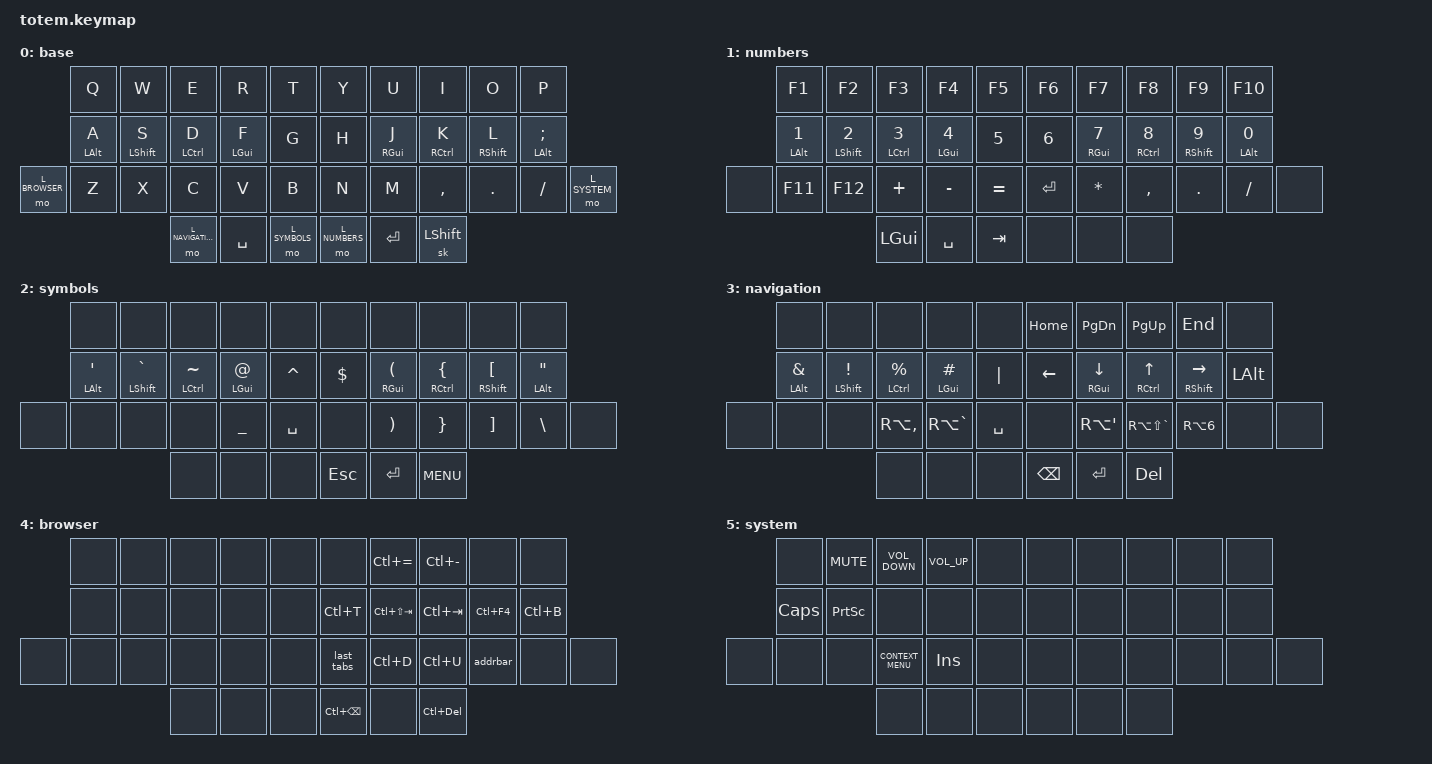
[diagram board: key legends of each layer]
//
//                                                        ▀▀▀▀▀     ▀▀▀▀▀          ▀▀█▀▀
//                                                        ▄▀▀▀▄  ▄  ▄▀▀▀▄  ▄  ▄▀▀▀▄  █  ▄▀▀▀▄
//                                                        █   █  █  █   █  █  █   █  █  █   █
//                                                         ▀▀▀   █   ▀▀▀   █   ▀▀▀   ▀   ▀▀▀
//                                                               █      ▄▄▄█▄▄▄    █   █  
//                                                               ▀      █  █  █     █▄█
//                                                             ▀▀▀▀▀    █  █  █      ▀
//                                                                      ▀  ▀  ▀
//
// ▄▄▄▄▄▄▄▄▄▄▄▄▄▄▄▄▄▄▄▄▄▄▄▄▄▄▄▄▄▄▄▄▄▄▄▄▄▄▄▄▄▄▄▄▄▄▄▄▄▄▄▄▄▄▄▄▄▄▄▄▄▄▄▄▄▄▄▄▄▄▄▄▄▄▄▄▄▄▄▄▄▄▄▄▄▄▄▄▄▄▄▄▄▄▄▄▄▄▄▄▄▄▄▄▄▄▄▄▄▄▄▄▄▄▄▄▄▄▄▄▄▄▄▄▄▄▄▄▄▄▄▄▄▄▄▄▄▄▄▄▄▄▄▄▄▄▄▄▄

#include <behaviors.dtsi>
#include <dt-bindings/zmk/keys.h>

#define L_BASE 0
#define L_NUMBERS 1
#define L_SYMBOLS 2
#define L_NAVIGATION 3
#define L_BROWSER 4
#define L_SYSTEM 5

&sk {
    release-after-ms = <500>;
    quick-release;
};

/ {
    macros {
        addrbar: addrbar {
            compatible = "zmk,behavior-macro";
            #binding-cells = <0>;
            bindings = <&kp F6>;
        };

        last_tabs: last_tabs {
            compatible = "zmk,behavior-macro";
            #binding-cells = <0>;
            bindings = <&kp LC(LS(T))>;
        };
    };

    behaviors {
        hml: home_row_mod_left {
            compatible = "zmk,behavior-hold-tap";
            #binding-cells = <2>;
            flavor = "balanced";
            require-prior-idle-ms = <150>;
            tapping-term-ms = <280>;
            quick-tap-ms = <175>;
            bindings = <&kp>, <&kp>;

            hold-trigger-key-positions = <5 6 7 8 9 15 16 17 18 19 26 27 28 29 30 31 32 33 34 35 36 37>;
            hold-trigger-on-release;
        };

        hmr: home_row_mod_right {
            compatible = "zmk,behavior-hold-tap";
            #binding-cells = <2>;
            flavor = "balanced";
            require-prior-idle-ms = <150>;
            tapping-term-ms = <280>;
            quick-tap-ms = <175>;
            bindings = <&kp>, <&kp>;

            hold-trigger-key-positions = <0 1 2 3 4 10 11 12 13 14 20 21 22 23 24 25 32 33 34 35 36 37>;
            hold-trigger-on-release;
        };
    };

    keymap {
        compatible = "zmk,keymap";

        base {
            bindings = <
               &kp Q            &kp W              &kp E                &kp R            &kp T            &kp Y          &kp U             &kp I                 &kp O               &kp P
               &hml LEFT_ALT A  &hml LEFT_SHIFT S  &hml LEFT_CONTROL D  &hml LEFT_GUI F  &kp G            &kp H          &hmr RIGHT_GUI J  &hmr RIGHT_CONTROL K  &hmr RIGHT_SHIFT L  &hmr LEFT_ALT SEMI
&mo L_BROWSER  &kp Z            &kp X              &kp C                &kp V            &kp B            &kp N          &kp M             &kp COMMA             &kp DOT             &kp SLASH           &mo L_SYSTEM
                                                   &mo L_NAVIGATION     &kp SPACE        &mo L_SYMBOLS    &mo L_NUMBERS  &kp ENTER         &sk LEFT_SHIFT
            >;
        };

        numbers {
            bindings = <
       &kp F1            &kp F2              &kp F3                &kp F4            &kp F5       &kp F6     &kp F7             &kp F8                 &kp F9               &kp F10
       &hml LEFT_ALT N1  &hml LEFT_SHIFT N2  &hml LEFT_CONTROL N3  &hml LEFT_GUI N4  &kp N5       &kp N6     &hmr RIGHT_GUI N7  &hmr RIGHT_CONTROL N8  &hmr RIGHT_SHIFT N9  &hmr LEFT_ALT N0
&none  &kp F11           &kp F12             &kp PLUS              &kp MINUS         &kp EQUAL    &kp ENTER  &kp ASTERISK       &kp COMMA              &kp DOT              &kp SLASH         &none
                                             &kp LEFT_GUI          &kp SPACE         &kp TAB      &none      &none              &none
            >;
        };

        symbols {
            bindings = <
       &none                       &none                  &none                    &none             &none        &none       &none                            &none                          &none                          &none
       &hml LEFT_ALT SINGLE_QUOTE  &hml LEFT_SHIFT GRAVE  &hml LEFT_CONTROL TILDE  &hml LEFT_GUI AT  &kp CARET    &kp DOLLAR  &hmr RIGHT_GUI LEFT_PARENTHESIS  &hmr RIGHT_CONTROL LEFT_BRACE  &hmr RIGHT_SHIFT LEFT_BRACKET  &hmr LEFT_ALT DOUBLE_QUOTES
&none  &none                       &none                  &none                    &kp UNDER         &kp SPACE    &none       &kp RIGHT_PARENTHESIS            &kp RIGHT_BRACE                &kp RIGHT_BRACKET              &kp BACKSLASH                &none
                                                          &none                    &none             &none        &kp ESCAPE  &kp ENTER                        &kp K_MENU
            >;
        };

        navigation {
            bindings = <
       &none                    &none                        &none                      &none               &none        &kp HOME       &kp PAGE_DOWN         &kp PAGE_UP            &kp END                 &none
       &hml LEFT_ALT AMPERSAND  &hml LEFT_SHIFT EXCLAMATION  &hml LEFT_CONTROL PERCENT  &hml LEFT_GUI HASH  &kp PIPE     &kp LEFT       &hmr RIGHT_GUI DOWN   &hmr RIGHT_CONTROL UP  &hmr RIGHT_SHIFT RIGHT  &kp LEFT_ALT
&none  &none                    &none                        &kp RA(COMMA)              &kp RA(GRAVE)       &kp SPACE    &none          &kp RA(SINGLE_QUOTE)  &kp RA(LS(GRAVE))      &kp RA(N6)              &none         &none
                                                             &none                      &none               &none        &kp BACKSPACE  &kp ENTER             &kp DELETE
            >;
        };

        browser {
            bindings = <
       &none  &none  &none  &none  &none    &none              &kp LC(EQUAL)    &kp LC(MINUS)   &none       &none
       &none  &none  &none  &none  &none    &kp LC(T)          &kp LC(LS(TAB))  &kp LC(TAB)     &kp LC(F4)  &kp LC(B)
&none  &none  &none  &none  &none  &none    &last_tabs         &kp LC(D)        &kp LC(U)       &addrbar    &none      &none
                     &none  &none  &none    &kp LC(BACKSPACE)  &none            &kp LC(DELETE)
            >;
        };

        system {
            bindings = <
       &none         &kp K_MUTE       &kp C_VOLUME_DOWN   &kp C_VOLUME_UP  &none    &none  &none  &none  &none  &none
       &kp CAPSLOCK  &kp PRINTSCREEN  &none               &none            &none    &none  &none  &none  &none  &none
&none  &none         &none            &kp K_CONTEXT_MENU  &kp INSERT       &none    &none  &none  &none  &none  &none  &none
                                      &none               &none            &none    &none  &none  &none
            >;
        };
    };
};
